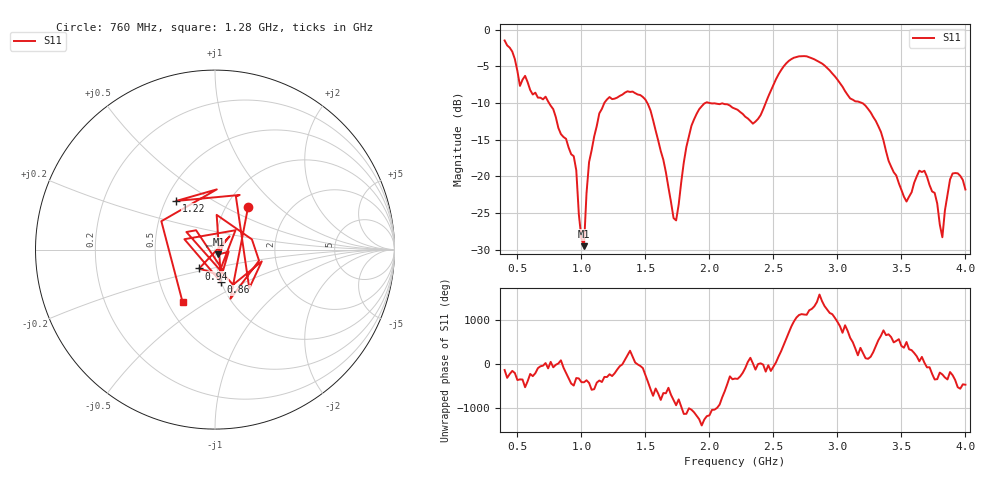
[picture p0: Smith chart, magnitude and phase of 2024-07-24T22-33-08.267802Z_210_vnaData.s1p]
!Created with skrf (http://scikit-rf.org).
# Hz S RI R 50.0
!freq ReS11 ImS11
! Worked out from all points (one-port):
!   181 points, 400 MHz to 4 GHz, reference 50 ohm
!   lowest |S11| = -29.5 dB at 1.02 GHz (marker M1), VSWR 1.07, Z = 51.9 - j2.82 ohm
!   |S11| at or under -10 dB: 1.514 GHz to 1.969 GHz (454.9 MHz wide, 26.1 % of centre); 1.998 GHz to 2.44 GHz (441.4 MHz wide, 19.9 % of centre); 3.19 GHz to end of sweep (the widest 3 of 4)
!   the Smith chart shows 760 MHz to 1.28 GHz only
!   S11 on the Smith chart (normalised r, x): 760 MHz: 1.26, +0.66; 860 MHz: 1.00, -0.38; 940 MHz: 0.82, -0.18; 1.22 GHz: 0.57, +0.35; 1.28 GHz: 0.60, -0.40
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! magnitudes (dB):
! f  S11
! 400 MHz  -1.5
! 520 MHz  -7.7
! 760 MHz  -10.4
! 860 MHz  -14.6
! 940 MHz  -17.3
! 1 GHz  -28.5
! 1.02 GHz  -29.5
! 1.06 GHz  -18.1
! 1.14 GHz  -11.4
! 1.22 GHz  -9.2
! 1.28 GHz  -9.3
! 1.3 GHz  -9.0
! 1.52 GHz  -10.2
! 1.72 GHz  -25.7
! 1.76 GHz  -23.9
! 1.82 GHz  -16.0
! 1.92 GHz  -10.9
! 2.2 GHz  -10.8
! 2.36 GHz  -12.5
! 2.66 GHz  -3.8
! 3.1 GHz  -9.4
! 3.3 GHz  -12.5
! 3.56 GHz  -22.8
! 3.68 GHz  -19.2
! 3.76 GHz  -22.3
! 3.82 GHz  -28.3
! 3.9 GHz  -19.6
! 4 GHz  -21.8
